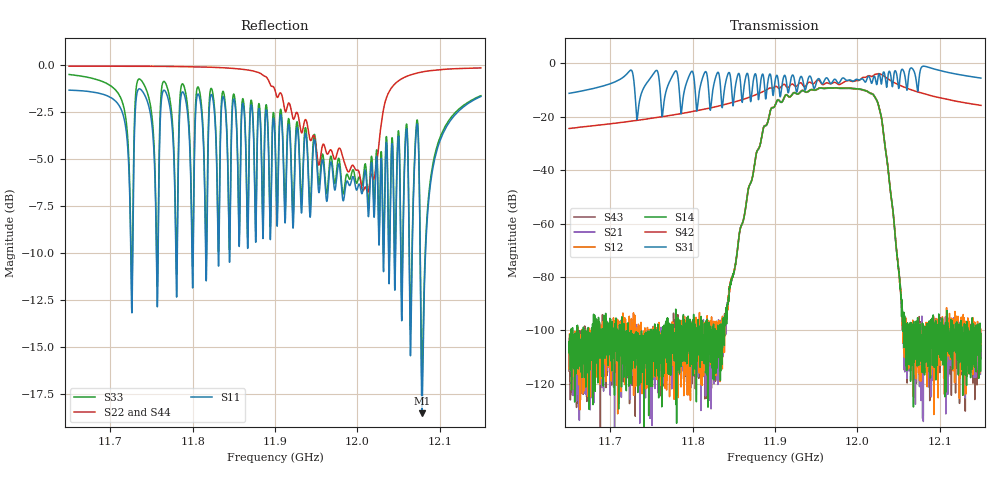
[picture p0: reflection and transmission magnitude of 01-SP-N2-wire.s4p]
#  HZ  S  RI  R  50.00
! Rohde & Schwarz ZVA24 4Ports - Version 2.92 - 1145.1110k26 SN: 100307
! Date: 2021-03-18 14:35:22
! Measurements: S11 S12 S13 S14 S21 S22 S23 S24 S31 S32 S33 S34 S41 S42 S43 S44
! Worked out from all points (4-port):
!   3334 points, 11.65 GHz to 12.15 GHz, reference 50 ohm
!   strongest paths, dB at 11.65 GHz, 11.775 GHz, 11.9 GHz, 12.025 GHz, 12.15 GHz:
!     S31: -11.2, -5.0, -6.7, -5.4, -5.5
!     S42: -24.4, -19.4, -8.7, -3.9, -15.7
!     S14: -104.2, -97.7, -15.8, -15.0, -115.1
!     S12: -114.4, -102.1, -15.7, -15.0, -104.7
!     S21: -107.6, -98.8, -15.7, -14.9, -110.7
!     S43: -115.3, -105.2, -15.8, -15.1, -107.0
!   lowest |S11| = -18.6 dB at 12.078 GHz (marker M1), VSWR 1.27, Z = 54.5 + j11.6 ohm
!   |S11| at or under -10 dB: 12.05266 GHz to 12.05522 GHz (2.558 MHz wide, 0.0212 % of centre); 12.0629 GHz to 12.06655 GHz (3.649 MHz wide, 0.0302 % of centre); 12.07622 GHz to 12.0827 GHz (6.479 MHz wide, 0.0536 % of centre)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
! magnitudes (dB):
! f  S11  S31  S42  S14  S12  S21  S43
! 11.65 GHz  -1.3  -11.2  -24.4  -104.2  -114.4  -107.6  -115.3
! 11.847 GHz  -4.4  -7.8  -14.8  -81.4  -80.5  -81.0  -81.7
! 11.896 GHz  -5.9  -6.5  -9.3  -16.7  -16.7  -16.7  -16.7
! 11.973 GHz  -6.6  -6.0  -7.2  -9.1  -9.1  -9.2  -9.2
! 12.023 GHz  -4.9  -7.7  -4.0  -13.5  -13.5  -13.5  -13.7
! 12.078 GHz  -18.6  -1.3  -11.2  -109.1  -100.5  -94.6  -105.7
! 12.15 GHz  -1.7  -5.5  -15.7  -115.1  -104.7  -110.7  -107.0
